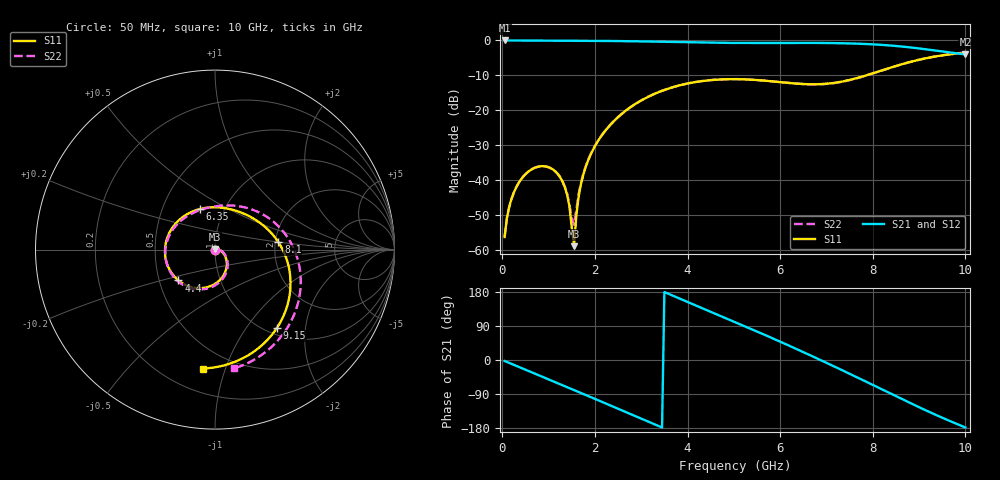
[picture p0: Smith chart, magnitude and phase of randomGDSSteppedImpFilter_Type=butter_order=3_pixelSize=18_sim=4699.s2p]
! freq	dB(S11)	phase(S11)	dB(S12)	phase(S12)
!  dB(S21)	phase(S21)	dB(S22)	phase(S22)
!S-par simulation data
#  GHz  S  DB  R 50
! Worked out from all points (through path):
!   200 points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, 50 MHz to 10 GHz, reference 50 ohm
!   highest |S21| = 0.00 dB at 50 MHz (marker M1); lowest = -4.0 dB at 10 GHz (marker M2)
!   group delay of S21, straight-line fit = 150 ps
!   lowest |S11| = -58.9 dB at 1.55 GHz (marker M3), VSWR 1.00, Z = 50 + j0.112 ohm
!   |S11| at or under -10 dB: start of sweep to 7.858 GHz
!   |S22| runs from -56.2 to -3.5 dB; largest |S21 - S12| = 0
!   S11 on the Smith chart (normalised r, x): 50 MHz: 1.00, -0.00; 4.4 GHz: 0.63, -0.23; 6.35 GHz: 0.77, +0.37; 8.1 GHz: 2.08, +0.20; 9.15 GHz: 1.12, -1.41; 10 GHz: 0.35, -0.84
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0.05  -56.25 -86.2  -0.00 -2.6  -0.00 -2.6  -56.24 -86.1
0.15  -47.57 -93.2  -0.01 -7.7  -0.01 -7.7  -47.57 -93.3
0.35  -40.85 -107.3  -0.03 -18.0  -0.03 -18.0  -40.85 -107.6
0.9  -35.99 -138.3  -0.06 -46.1  -0.06 -46.1  -36.00 -139.5
1.35  -41.96 -165.4  -0.08 -69.1  -0.08 -69.1  -41.84 -172.0
1.45  -47.52 -176.4  -0.08 -74.2  -0.08 -74.2  -46.89 169.5
1.55  -58.87 79.2  -0.09 -79.4  -0.09 -79.4  -52.72 87.7
1.65  -44.55 13.2  -0.09 -84.5  -0.09 -84.5  -43.90 27.2
1.75  -38.38 3.6  -0.10 -89.7  -0.10 -89.7  -38.16 12.1
2  -30.25 -12.0  -0.12 -102.6  -0.12 -102.6  -30.19 -7.1
2.35  -23.90 -31.3  -0.16 -120.8  -0.16 -120.8  -23.87 -27.5
3.4  -14.66 -87.2  -0.37 -175.5  -0.37 -175.5  -14.65 -83.2
4.4  -11.49 -139.8  -0.63 132.7  -0.63 132.7  -11.47 -134.0
5.05  -11.08 -174.6  -0.71 99.0  -0.71 99.0  -11.06 -166.5
5.7  -11.55 149.0  -0.71 64.6  -0.71 64.6  -11.54 161.0
6.35  -12.35 110.4  -0.69 29.2  -0.69 29.2  -12.35 127.9
6.7  -12.55 88.9  -0.70 9.6  -0.70 9.6  -12.57 109.5
7.35  -11.74 49.7  -0.81 -27.6  -0.81 -27.6  -11.80 73.2
8.1  -8.99 6.8  -1.19 -71.8  -1.19 -71.8  -9.02 27.9
8.35  -7.93 -7.3  -1.42 -86.7  -1.42 -86.7  -7.94 12.5
9.15  -5.10 -51.6  -2.53 -133.2  -2.53 -133.2  -5.07 -35.3
10  -3.53 -96.0  -4.01 -178.1  -4.01 -178.1  -3.47 -80.9
